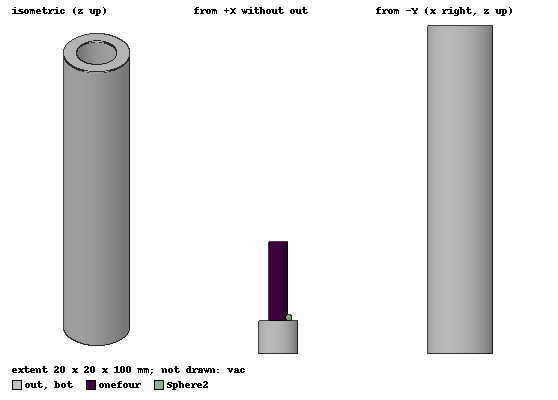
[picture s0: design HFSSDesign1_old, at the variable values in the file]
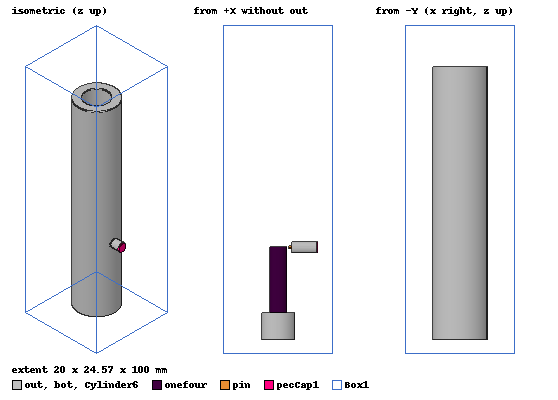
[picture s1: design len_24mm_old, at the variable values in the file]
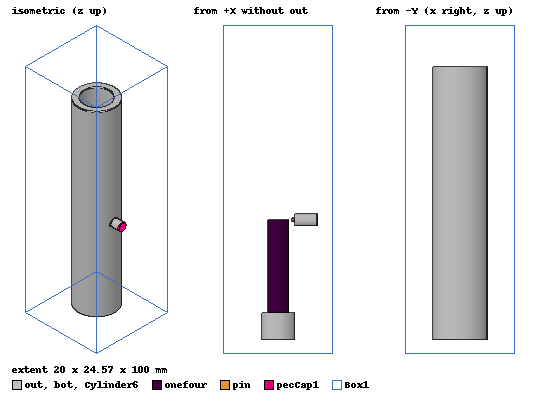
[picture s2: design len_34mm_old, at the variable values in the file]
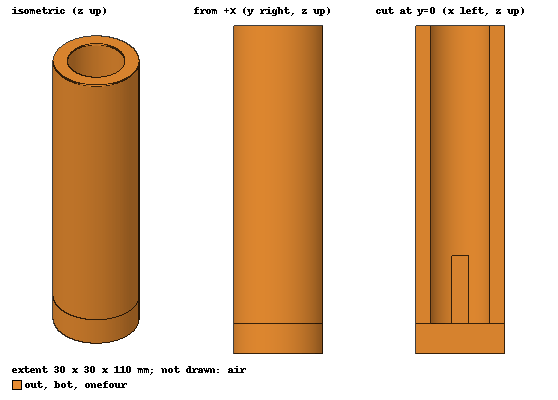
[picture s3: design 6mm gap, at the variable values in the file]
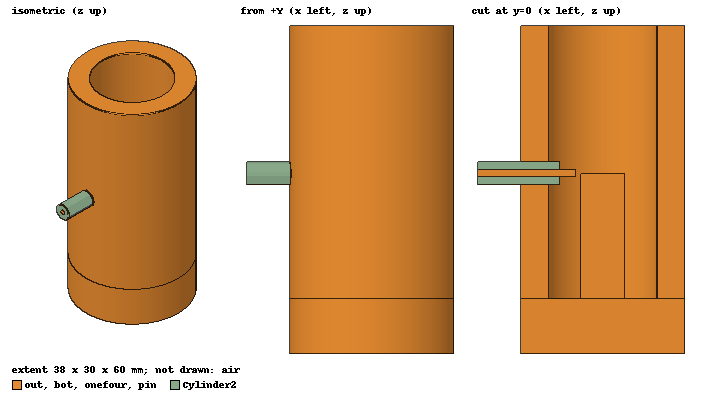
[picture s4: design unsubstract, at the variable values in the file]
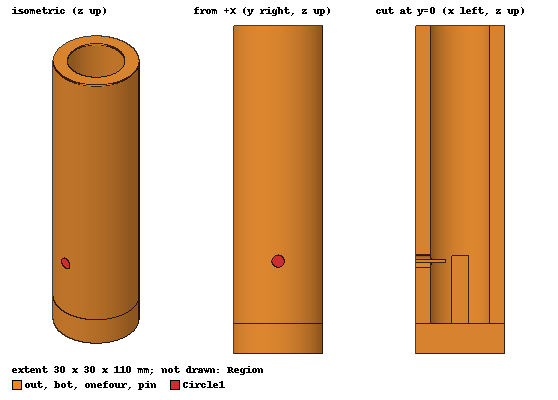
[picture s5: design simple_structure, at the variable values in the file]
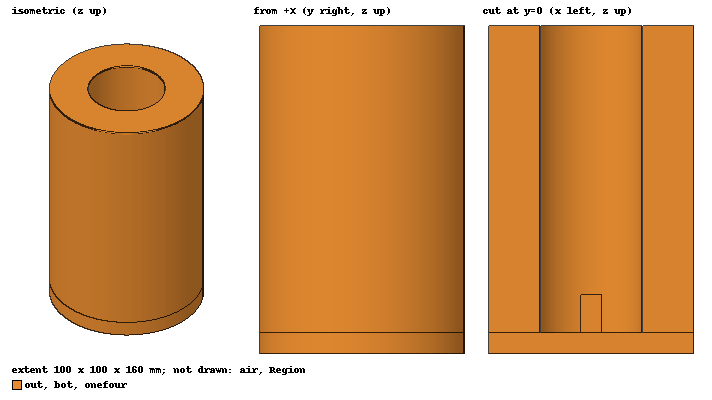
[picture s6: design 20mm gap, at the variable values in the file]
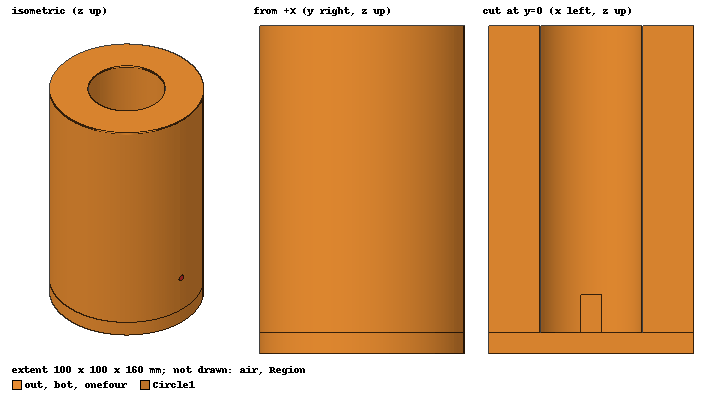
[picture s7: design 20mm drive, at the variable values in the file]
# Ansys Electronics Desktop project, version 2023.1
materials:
  copper: permeability=0.999991 conductivity=58000000
  FR4_epoxy: permittivity=4.4 dielectric_loss_tangent=0.02
  Rogers RT/duroid 5880 (tm): permittivity=2.2 dielectric_loss_tangent=0.0009
  vacuum: permittivity=1
  aluminum: permeability=1.000021 conductivity=38000000
  YIG: permittivity=16 permeability=1.4 conductivity=1e-05 dielectric_loss_tangent=0.0001 delta_H_freq=2800000000
  Teflon (tm): permittivity=2.1 dielectric_loss_tangent=0.001
  pec: conductivity=1e+30
  air: permittivity=1.0006 permeability=1.0000004

design HFSSDesign1_old (HFSS, Eigenmode, model units mm)
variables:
  lambda = 24mm
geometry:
  out [copper] = cylinder(axis=Z, base_centre=(0mm, 0mm, 0mm), radius=10mm, height=100mm)
  Cylinder2 = cylinder(axis=Z, base_centre=(0mm, 0mm, 0mm), radius=6mm, height=100mm)
  out.subtract(Cylinder2)
  bot [copper] = cylinder(axis=Z, base_centre=(0mm, 0mm, 0mm), radius=6mm, height=10mm)
  onefour [copper] = cylinder(axis=Z, base_centre=(0mm, 0mm, 10mm), radius=3mm, height=lambda)
  onefour1 = cylinder(axis=Z, base_centre=(0mm, 0mm, 10mm), radius=3mm, height=lambda)
  vac [vacuum] = cylinder(axis=Z, base_centre=(0mm, 0mm, 10mm), radius=6mm, height=90mm)
  vac.subtract(onefour1)
  Sphere2 [YIG] = sphere(centre=(3.2mm, 3.2mm, 11mm), radius=1mm)
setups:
  Setup1: HfssEigen MinimumFrequency=1GHz NumModes=4 MaxDeltaFreq=0.0001 ConvergeOnRealFreq=false MaximumPasses=20 MinimumPasses=1 MinimumConvergedPasses=1 PercentRefinement=30 BasisOrder=1
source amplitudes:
  #-10:1: 1 0deg
  #-10:2, #-10:3, #-10:4: 0 0deg
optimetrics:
  ParametricSetup1: Parametric Sim._Setups=[Setup1]
    sweep lambda: LIN 20mm 30mm 1mm
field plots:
  Vector_H1: H Field in vac on Setup1 : LastAdaptive at Phase=0deg
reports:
   Table 1: re(Mode(1))*1e-9, re(Mode(2))*1e-9, re(Mode(3))*1e-9, re(Mode(4))*1e-9 vs lambda on Setup1 : LastAdaptive

design len_24mm_old (HFSS, HFSS Modal Network, model units mm)
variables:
  lambda = 24mm
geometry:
  out [copper] = cylinder(axis=Z, base_centre=(0mm, 0mm, 0mm), radius=10mm, height=100mm)
  Cylinder2 = cylinder(axis=Z, base_centre=(0mm, 0mm, 0mm), radius=6mm, height=100mm)
  out.subtract(Cylinder2)
  bot [copper] = cylinder(axis=Z, base_centre=(0mm, 0mm, 0mm), radius=6mm, height=10mm)
  onefour [copper] = cylinder(axis=Z, base_centre=(0mm, 0mm, 10mm), radius=3mm, height=24mm)
  Cylinder3 = cylinder(axis=Y, base_centre=(0mm, 4mm, 34mm), radius=2.05mm, height=10mm)
  pin [copper] = cylinder(axis=Y, base_centre=(0mm, 4mm, 34mm), radius=0.635mm, height=10mm)
  out.subtract(Cylinder3)
  Box1 [vacuum] = box(corner=(20mm, -20mm, -5mm), size=(-40mm, 40mm, 120mm))
  Cylinder6 [Teflon (tm)] = cylinder(axis=Y, base_centre=(0mm, 5mm, 34mm), radius=2.05mm, height=9mm)
  pecCap1 [pec] = sweep_along_normal(Cylinder6.face(+y end), length=0.57mm)
  Cylinder7 = cylinder(axis=Y, base_centre=(0mm, 4mm, 34mm), radius=0.635mm, height=10mm)
  Cylinder6.subtract(Cylinder7)
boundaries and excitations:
  PerfE1: Perfect E Faces=Cylinder6.face(side)
  1: Wave Port Faces=Cylinder6.face(+y end) WavePortType=Modal NumModes=1 Modes{Mode1{CharImp=Zpi}}
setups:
  Setup1: HfssDriven MultipleAdaptiveFreqsSetup{Low=1GHz High=10GHz} MaxDeltaS=0.0001 MaximumPasses=15 MinimumPasses=1 MinimumConvergedPasses=1 PercentRefinement=30 BasisOrder=-1 PortAccuracy=2 DrivenSolverType="Direct Solver"
    sweep Sweep: 1GHz to 10GHz, 1001 points; Type=Fast SaveFields
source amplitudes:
  1:1: 1W 0deg
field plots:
  Vector_H1: H Field over pin.face(all 3) onefour.face(all 3) on Setup1 : LastAdaptive at Freq=5.5GHz Phase=0deg
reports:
  S Parameter Plot 1: dB(S(1,1)) vs Freq on Setup1 : Sweep

design SMA (HFSS, HFSS Modal Network, model units mm)
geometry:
  Box1 [copper] = box(corner=(0.2mm, 0mm, 0mm), size=(6mm, 1.6mm, 20mm))
  coordinate_system RelativeCS1 = origin=(3.2mm, 1.6mm, 10mm) x=(1mm, 0mm, 0mm) y=(0mm, 1mm, 0mm)
  Cylinder1 = cylinder(axis=Y, base_centre=(0mm, 0mm, 0mm), radius=2.05mm, height=-1.6mm) in RelativeCS1
  Cylinder2 [Teflon (tm)] = cylinder(axis=Y, base_centre=(0mm, 0mm, 0mm), radius=2.05mm, height=-15mm) in RelativeCS1
  Box1.subtract(Cylinder1)
  Cylinder3 [copper] = cylinder(axis=Y, base_centre=(0mm, 0mm, 0mm), radius=0.635mm, height=-15mm) in RelativeCS1
  Cylinder4 = cylinder(axis=Y, base_centre=(0mm, 0mm, 0mm), radius=0.635mm, height=-15mm) in RelativeCS1
  Cylinder2.subtract(Cylinder4)
  Box2 [vacuum] = box(corner=(4mm, 2mm, -10mm), size=(-10mm, -22mm, 20mm)) in RelativeCS1
  pecCap1 [pec] = object_from(Cylinder2.edge(2 of 2))
  pecCap1.thicken(0.57mm)
  pecCap2 [pec] = object_from(Cylinder2.edge(1 of 2))
  pecCap2.thicken(0.57mm)
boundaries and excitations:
  Rad1: Radiation Faces=Box2.face(all 6)
  PerfE1: Perfect E Faces=Cylinder2.face(at (3.2, -5.9, 7.95))
  1: Wave Port Faces=Cylinder2.face(at (3.2, 1.6, 10)) WavePortType=Modal NumModes=1 Modes{Mode1{CharImp=Zpi RenormImp=50ohm}}
  2: Wave Port Faces=Cylinder2.face(at (3.2, -13.4, 10)) WavePortType=Modal NumModes=1 Modes{Mode1{CharImp=Zpi}}
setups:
  Setup1: HfssDriven MultipleAdaptiveFreqsSetup{Low=1GHz High=20GHz} MaxDeltaS=0.001 MaximumPasses=15 MinimumPasses=1 MinimumConvergedPasses=1 PercentRefinement=30 BasisOrder=-1 PortAccuracy=2 DrivenSolverType="Direct Solver"
    sweep Sweep: 1GHz to 20GHz, 1001 points; Type=Fast SaveFields
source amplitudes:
  1:1: 1W 0deg
  2:1: 0W 0deg
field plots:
  Vector_E1: E Field over Cylinder2.face(at (3.2, -5.9, 7.95)) on Setup1 : LastAdaptive at Freq=10.5GHz Phase=0deg
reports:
  S Parameter Plot 1: dB(S(1,1)), dB(S(2,1)) vs Freq on Setup1 : Sweep

design len_34mm_old (HFSS, HFSS Modal Network, model units mm)
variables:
  lambda = 34mm
  pinpos = 44mm
  sweep = 4mm
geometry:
  out [copper] = cylinder(axis=Z, base_centre=(0mm, 0mm, 0mm), radius=10mm, height=100mm)
  Cylinder2 = cylinder(axis=Z, base_centre=(0mm, 0mm, 0mm), radius=7mm, height=100mm)
  out.subtract(Cylinder2)
  Cylinder3 = cylinder(axis=Y, base_centre=(0mm, 4mm, pinpos), radius=2.05mm, height=10mm)
  out.subtract(Cylinder3)
  bot [copper] = cylinder(axis=Z, base_centre=(0mm, 0mm, 0mm), radius=6mm, height=10mm)
  onefour [copper] = cylinder(axis=Z, base_centre=(0mm, 0mm, 10mm), radius=sweep, height=lambda)
  pin [copper] = cylinder(axis=Y, base_centre=(0mm, 5mm, pinpos), radius=0.635mm, height=8mm)
  Cylinder6 [Teflon (tm)] = cylinder(axis=Y, base_centre=(0mm, 6mm, pinpos), radius=2.05mm, height=8mm)
  pecCap1 [pec] = sweep_along_normal(Cylinder6.face(+y end), length=0.57mm)
  Cylinder7 = cylinder(axis=Y, base_centre=(0mm, 4mm, pinpos), radius=0.635mm, height=10mm)
  Cylinder6.subtract(Cylinder7)
  Box1 [vacuum] = box(corner=(20mm, -20mm, -5mm), size=(-40mm, 40mm, 120mm))
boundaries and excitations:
  PerfE1: Perfect E Faces=Cylinder6.face(side)
  1: Wave Port Faces=Cylinder6.face(+y end) WavePortType=Modal NumModes=1 Modes{Mode1{CharImp=Zpi}}
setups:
  Setup1: HfssDriven MultipleAdaptiveFreqsSetup{Low=1GHz High=10GHz} MaxDeltaS=0.0001 MaximumPasses=10 MinimumPasses=1 MinimumConvergedPasses=1 PercentRefinement=30 BasisOrder=-1 PortAccuracy=2 DrivenSolverType="Direct Solver"
    sweep Sweep: 1GHz to 10GHz, 1001 points; Type=Fast SaveFields
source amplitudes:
  1:1: 1W 0deg
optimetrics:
  ParametricSetup1: Parametric Sim._Setups=[Setup1]
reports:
  S Parameter Plot 1: dB(S(1,1)) vs Freq on Setup1 : Sweep

design SMA2 (HFSS, HFSS Modal Network, model units mm)
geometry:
  Box1 [copper] = box(corner=(0.2mm, 0mm, 0mm), size=(6mm, 1.6mm, 20mm))
  coordinate_system RelativeCS1 = origin=(3.2mm, 1.6mm, 10mm) x=(1mm, 0mm, 0mm) y=(0mm, 1mm, 0mm)
  Cylinder1 = cylinder(axis=Y, base_centre=(0mm, 0mm, 0mm), radius=2.05mm, height=-1.6mm) in RelativeCS1
  Box1.subtract(Cylinder1)
  Cylinder2 [Teflon (tm)] = cylinder(axis=Y, base_centre=(0mm, 0mm, 0mm), radius=2.05mm, height=-15mm) in RelativeCS1
  Cylinder4 = cylinder(axis=Y, base_centre=(0mm, 0mm, 0mm), radius=0.635mm, height=-15mm) in RelativeCS1
  Cylinder2.subtract(Cylinder4)
  Cylinder3 [copper] = cylinder(axis=Y, base_centre=(0mm, 0mm, 0mm), radius=0.635mm, height=-18mm) in RelativeCS1
  Box2 [vacuum] = box(corner=(4mm, 2mm, -10mm), size=(-10mm, -22mm, 20mm)) in RelativeCS1
  pecCap1 [pec] = object_from(Cylinder2.edge(2 of 2))
  pecCap1.thicken(0.57mm)
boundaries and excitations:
  Rad1: Radiation Faces=Box2.face(all 6)
  PerfE1: Perfect E Faces=Cylinder2.face(at (3.2, -5.9, 7.95))
  PerfE2: Perfect E Faces=Cylinder3.face(at (3.2, -16.4, 10))
  1: Wave Port Faces=Cylinder2.face(at (3.2, 1.6, 10)) WavePortType=Modal NumModes=1 Modes{Mode1{CharImp=Zpi}}
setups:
  Setup1: HfssDriven Frequency=5GHz MaxDeltaS=0.001 MaximumPasses=15 MinimumPasses=1 MinimumConvergedPasses=1 PercentRefinement=30 BasisOrder=-1 PortAccuracy=2 DrivenSolverType="Direct Solver"
    sweep Sweep: 1GHz to 20GHz, 1001 points; Type=Fast SaveFields
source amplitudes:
  1:1: 1W 0deg
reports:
  S Parameter Plot 1: dB(S(1,1)) vs Freq on Setup1 : Sweep

design 6mm gap (HFSS, Eigenmode, model units mm)
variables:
  radious = 15mm
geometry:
  bot [copper] = cylinder(axis=Z, base_centre=(0mm, 0mm, 0mm), radius=radious, height=-10mm)
  onefour [copper] = cylinder(axis=Z, base_centre=(0mm, 0mm, 0mm), radius=3mm, height=23mm)
  air [vacuum] = cylinder(axis=Z, base_centre=(0mm, 0mm, 0mm), radius=radious-5mm, height=100mm)
  out [copper] = cylinder(axis=Z, base_centre=(0mm, 0mm, 0mm), radius=radious, height=100mm)
  subout = cylinder(axis=Z, base_centre=(0mm, 0mm, 0mm), radius=radious-5mm, height=100mm)
  out.subtract(subout)
  Rectangle1 [non-model] = rectangle(corner=(7mm, -20mm, 0mm), y_size=40mm, z_size=50mm)
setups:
  Setup1: HfssEigen MinimumFrequency=1GHz NumModes=5 MaxDeltaFreq=0.0001 ConvergeOnRealFreq=false MaximumPasses=15 MinimumPasses=1 MinimumConvergedPasses=1 PercentRefinement=30 BasisOrder=-1
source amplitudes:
  #-10:1: 1 0deg
  #-10:2..#-10:5: 0 0deg
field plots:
  Mag_H1: H Field over a plane on Setup1 : LastAdaptive at Phase=0deg
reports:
  Eigen Modes Table 1: re(Mode(1))*1e-9, re(Mode(2))*1e-9, re(Mode(3))*1e-9, re(Mode(4))*1e-9, re(Mode(5))*1e-9 vs radious on Setup1 : LastAdaptive

design unsubstract (HFSS, HFSS Modal Network, model units mm)
options: Allow_Material_Override
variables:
  radious = 15mm
  Rpin = 0.635mm
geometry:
  bot [copper] = cylinder(axis=Z, base_centre=(0mm, 0mm, 0mm), radius=radious, height=-10mm)
  onefour [copper] = cylinder(axis=Z, base_centre=(0mm, 0mm, 0mm), radius=4mm, height=23mm)
  air [vacuum] = cylinder(axis=Z, base_centre=(0mm, 0mm, 0mm), radius=radious-5mm, height=50mm)
  out [copper] = cylinder(axis=Z, base_centre=(0mm, 0mm, 0mm), radius=radious, height=50mm)
  subout = cylinder(axis=Z, base_centre=(0mm, 0mm, 0mm), radius=radious-5mm, height=50mm)
  out.subtract(subout)
  coordinate_system RelativeCS1 = origin=(0mm, 0mm, 23mm) x=(1mm, 0mm, 0mm) y=(0mm, 1mm, 0mm)
  pin [copper] = cylinder(axis=X, base_centre=(5mm, 0mm, 0mm), radius=Rpin, height=18mm) in RelativeCS1
  Cylinder2 [Teflon (tm)] = cylinder(axis=X, base_centre=(8mm, 0mm, 0mm), radius=2.05mm, height=15mm) in RelativeCS1
  Cylinder3 = cylinder(axis=X, base_centre=(8mm, 0mm, 0mm), radius=Rpin, height=15mm) in RelativeCS1
  Cylinder2.subtract(Cylinder3)
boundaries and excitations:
  PerfE1: Perfect E Faces=Cylinder2.face(at (15.5, -2.05, 23))
  1: Wave Port Faces=Cylinder2.face(at (23, 0, 23)) pin.face(at (23, 0, 23)) WavePortType=Modal NumModes=1 Modes{Mode1{CharImp=Zpi}}
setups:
  Setup1: HfssDriven MultipleAdaptiveFreqsSetup{Low=1GHz High=5GHz} MaxDeltaS=0.001 MaximumPasses=15 MinimumPasses=1 MinimumConvergedPasses=1 PercentRefinement=30 BasisOrder=-1 PortAccuracy=2 DrivenSolverType="Direct Solver"
    sweep Sweep: 1GHz to 5GHz, 1001 points; Type=Fast SaveFields
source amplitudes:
  1:1: 1W 0deg

design simple_structure (HFSS, HFSS Modal Network, model units mm)
options: Allow_Material_Override
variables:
  radious = 15mm
  Rpin = 0.635mm
  high = 21mm
  gap = 5mm
  pin = 0mm
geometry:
  bot [copper] = cylinder(axis=Z, base_centre=(0mm, 0mm, 0mm), radius=radious, height=-10mm)
  onefour [copper] = cylinder(axis=Z, base_centre=(0mm, 0mm, 0mm), radius=3mm, height=23mm)
  out [copper] = cylinder(axis=Z, base_centre=(0mm, 0mm, 0mm), radius=radious, height=100mm)
  subout = cylinder(axis=Z, base_centre=(0mm, 0mm, 0mm), radius=radious-gap, height=100mm)
  out.subtract(subout)
  coordinate_system RelativeCS1 = origin=(0mm, 0mm, high) x=(1mm, 0mm, 0mm) y=(0mm, 1mm, 0mm)
  pin [copper] = cylinder(axis=X, base_centre=(5mm+pin, 0mm, 0), radius=Rpin, height=10mm-pin) in RelativeCS1
  pin1 = cylinder(axis=X, base_centre=(5mm, 0mm, 0mm), radius=2.05mm, height=18mm) in RelativeCS1
  out.subtract(pin1)
  Circle1 = circle(normal=X, centre=(15mm, 0mm, 0mm), radius=2.05mm) in RelativeCS1
  Region [vacuum] = region(percentage_offset=0 on all sides)
  Rectangle1 [non-model] = rectangle(corner=(-20mm, 5mm, 0mm), z_size=50mm, x_size=40mm)
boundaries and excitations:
  Rad1: Radiation Objects=Region
  1: Wave Port Faces=Circle1.face WavePortType=Modal NumModes=1 Modes{Mode1{CharImp=Zpi}}
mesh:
  Length1: LengthBased Objects=onefour MaxLength=2mm
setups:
  Setup1: HfssDriven MultipleAdaptiveFreqsSetup{Low=2GHz High=3.5GHz} MaxDeltaS=0.001 MaximumPasses=2 MinimumPasses=1 MinimumConvergedPasses=1 PercentRefinement=30 BasisOrder=2 PortAccuracy=2 DrivenSolverType="Direct Solver"
    sweep Sweep: 2GHz to 3.5GHz, 11 points; Type=Fast SaveFields
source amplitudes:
  1:1: 1W 0deg
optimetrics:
  ParametricSetup1: Parametric Sim._Setups=[Setup1]
    sweep high: LIN 15mm 30mm 3mm
    sweep pin: LIN 1mm 5mm 1mm
  ParametricSetup2: Parametric Sim._Setups=[Setup1]
    sweep pin: LIN 0mm 7mm 1mm
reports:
  S Parameter Plot 2: dB(S(1,1)), ang_deg(S(1,1)) vs Freq on Setup1 : Sweep [high=all pin=all]
  S Parameter Plot 3: dB(S(1,1)) vs Freq on Setup1 : Sweep [high=all pin=all]
  S Parameter Plot 4: dB(S(1,1)), ang_deg(S(1,1)) vs Freq on Setup1 : Sweep

design 20mm gap (HFSS, Eigenmode, model units mm)
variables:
  radious = 50mm
  gap = 20mm
  pin_radi = 5mm
  high = 150mm
  pin = 23mm
  pin_high = 19mm
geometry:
  bot [copper] = cylinder(axis=Z, base_centre=(0mm, 0mm, 0mm), radius=radious, height=-10mm)
  onefour [copper] = cylinder(axis=Z, base_centre=(0mm, 0mm, 0mm), radius=pin_radi, height=pin_high)
  air [vacuum] = cylinder(axis=Z, base_centre=(0mm, 0mm, 0mm), radius=radious-pin_radi-gap, height=high)
  out [copper] = cylinder(axis=Z, base_centre=(0mm, 0mm, 0mm), radius=radious, height=high)
  subout = cylinder(axis=Z, base_centre=(0mm, 0mm, 0mm), radius=radious-pin_radi-gap, height=high)
  out.subtract(subout)
  Rectangle1 [non-model] = rectangle(corner=(-50mm, 15mm, 0mm), z_size=100mm, x_size=100mm)
  Region [vacuum] = region(percentage_offset=0 on all sides)
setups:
  Setup1: HfssEigen MinimumFrequency=1.36364GHz NumModes=3 MaxDeltaFreq=0.01 ConvergeOnRealFreq=false MaximumPasses=10 MinimumPasses=1 MinimumConvergedPasses=1 PercentRefinement=30 BasisOrder=2
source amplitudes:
  #-10:1: 1 0deg
  #-10:2, #-10:3: 0 0deg
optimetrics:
  ParametricSetup1: Parametric Sim._Setups=[Setup1]
    sweep pin_high: LIN 15mm 21mm 2mm
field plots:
  Mag_H1: H Field over a plane on Setup1 : LastAdaptive at Phase=0deg
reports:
  Eigen Modes Table 1: re(Mode(1)) vs radious on Setup1 : LastAdaptive [pin_radi=all pin_high=all]

design 20mm drive (HFSS, HFSS Modal Network, model units mm)
options: Allow_Material_Override
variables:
  radious = 50mm
  pin_high = 19mm
  pin_radi = 5mm
  gap = 20mm
  high = 150mm
  cs_high = 25mm
  dis = 6mm
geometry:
  bot [copper] = cylinder(axis=Z, base_centre=(0mm, 0mm, 0mm), radius=radious, height=-10mm)
  onefour [copper] = cylinder(axis=Z, base_centre=(0mm, 0mm, 0mm), radius=pin_radi, height=pin_high)
  air [vacuum] = cylinder(axis=Z, base_centre=(0mm, 0mm, 0mm), radius=radious-pin_radi-gap, height=high)
  out [copper] = cylinder(axis=Z, base_centre=(0mm, 0mm, 0mm), radius=radious, height=high)
  subout = cylinder(axis=Z, base_centre=(0mm, 0mm, 0mm), radius=radious-pin_radi-gap, height=high)
  out.subtract(subout)
  coordinate_system RelativeCS1 = origin=(0mm, 0mm, cs_high) x=(1mm, 0mm, 0mm) y=(0mm, 1mm, 0mm)
  Cylinder1 = cylinder(axis=Y, base_centre=(0mm, pin_radi+15mm, 0mm), radius=2.05mm, height=radious-pin_radi-gap+5mm) in RelativeCS1
  pin [copper] = cylinder(axis=Y, base_centre=(0mm, pin_radi+gap-dis, 0mm), radius=0.635mm, height=radious-pin_radi-gap+dis) in RelativeCS1
  out.subtract(Cylinder1)
  Circle1 = circle(normal=Y, centre=(0mm, 50mm, 0mm), radius=2.05mm) in RelativeCS1
  Region [vacuum] = region(percentage_offset=0 on all sides) in RelativeCS1
  Rectangle1 [non-model] = rectangle(corner=(15mm, -25mm, 0mm), y_size=50mm, z_size=100mm)
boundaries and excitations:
  Rad1: Radiation Objects=Region
  1: Wave Port Objects=Circle1 WavePortType=Modal NumModes=1 Modes{Mode1{CharImp=Zpi}}
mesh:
  Length1: LengthBased Objects=onefour MaxLength=5mm
  Length2: LengthBased Objects=out MaxLength=15mm
  Length3: LengthBased Objects=pin MaxLength=3mm
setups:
  Setup1: HfssDriven MultipleAdaptiveFreqsSetup{Low=2.7GHz High=2.9GHz} MaxDeltaS=0.001 MaximumPasses=5 MinimumPasses=1 MinimumConvergedPasses=1 PercentRefinement=30 BasisOrder=2 PortAccuracy=2 DrivenSolverType="Direct Solver"
    sweep Sweep: 2.7GHz to 2.9GHz, 401 points; Type=Fast SaveFields
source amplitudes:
  1:1: 1W 0deg
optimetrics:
  ParametricSetup1: Parametric Sim._Setups=[Setup1]
    sweep dis: LIN -15mm 12mm 3mm
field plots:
  Mag_E1: E Field in air on Setup1 : LastAdaptive at Freq=2.8GHz Phase=0deg
  Mag_H1, Mag_H2: H Field in air on Setup1 : LastAdaptive at Freq=2.8GHz Phase=0deg
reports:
  S Parameter Plot 1: dB(S(1,1)) vs Freq on Setup1 : Sweep; ang_deg(S(1,1)) vs Freq on Setup1 : Sweep [dis=all]
  Z Parameter Plot 1: dBm(Passivity) vs Freq on Setup1 : Sweep [dis=all]
  S Parameter Plot 2: dB(S(1,1)), ang_deg(S(1,1)) vs Freq on Setup1 : Sweep
